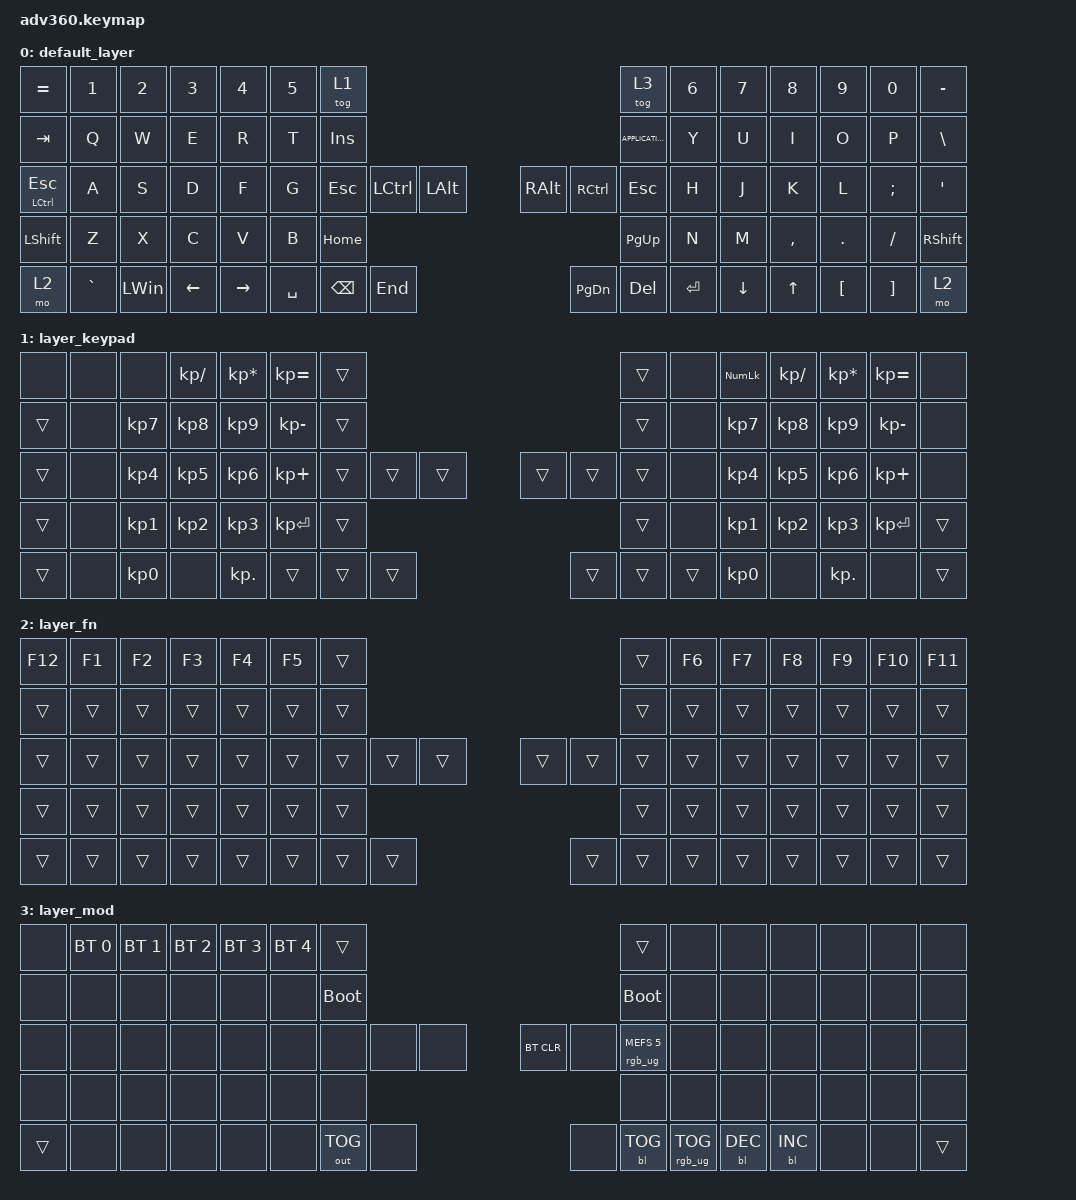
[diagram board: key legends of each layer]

/*
 * Copyright (c) 2020 The ZMK Contributors
 *
 * SPDX-License-Identifier: MIT
 */


/* THIS FILE WAS GENERATED!
 *
 * This file was generated automatically. You may or may not want to
 * edit it directly.
 */

#include <behaviors.dtsi>
#include <dt-bindings/zmk/keys.h>
#include <dt-bindings/zmk/bt.h>
#include <dt-bindings/zmk/rgb.h>
#include <dt-bindings/zmk/outputs.h>
#include <dt-bindings/zmk/backlight.h>

/ {
  behaviors {
    #include "macros.dtsi"

    hm: homerow_mods {
        compatible = "zmk,behavior-hold-tap";
        label = "HOMEROW_MODS";
        #binding-cells = <2>;
        tapping-term-ms = <200>;
        quick_tap_ms = <175>;
        flavor = "tap-preferred";
        bindings = <&kp>, <&kp>;
    };
  };

    keymap {
        compatible = "zmk,keymap";


        default_layer {
            bindings = <
     &kp EQUAL     &kp N1        &kp N2    &kp N3     &kp N4  &kp N5                &tog 1                                                                         &tog 3  &kp N6    &kp N7     &kp N8    &kp N9    &kp N0  &kp MINUS
       &kp TAB      &kp Q         &kp W     &kp E      &kp R   &kp T            &kp INSERT                                                              &kp K_APPLICATION   &kp Y     &kp U      &kp I     &kp O     &kp P   &kp BSLH
 &mt LCTRL ESC      &kp A         &kp S     &kp D      &kp F   &kp G               &kp ESC  &kp LCTRL  &kp LALT                   &kp RALT   &kp RCTRL            &kp ESC   &kp H     &kp J      &kp K     &kp L  &kp SEMI    &kp SQT
     &kp LSHFT      &kp Z         &kp X     &kp C      &kp V   &kp B                                   &kp HOME                  &kp PG_UP                                  &kp N     &kp M  &kp COMMA   &kp DOT  &kp FSLH  &kp RSHFT
         &mo 2  &kp GRAVE  &kp LEFT_WIN  &kp LEFT  &kp RIGHT                     &kp SPACE   &kp BSPC   &kp END                  &kp PG_DN  &kp DELETE          &kp ENTER          &kp DOWN     &kp UP  &kp LBKT  &kp RBKT      &mo 2
            >;
        };

        layer_keypad {
            bindings = <
  &none   &none      &none  &kp KP_SLASH  &kp KP_MULTIPLY  &kp KP_EQUAL            &trans                                                  &trans   &none  &kp KP_NUM  &kp KP_SLASH  &kp KP_MULTIPLY  &kp KP_EQUAL   &none
 &trans   &none  &kp KP_N7     &kp KP_N8        &kp KP_N9  &kp KP_MINUS            &trans                                                  &trans   &none   &kp KP_N7     &kp KP_N8        &kp KP_N9  &kp KP_MINUS   &none
 &trans   &none  &kp KP_N4     &kp KP_N5        &kp KP_N6   &kp KP_PLUS            &trans  &trans  &trans                  &trans  &trans  &trans   &none   &kp KP_N4     &kp KP_N5        &kp KP_N6   &kp KP_PLUS   &none
 &trans   &none  &kp KP_N1     &kp KP_N2        &kp KP_N3  &kp KP_ENTER                            &trans                  &trans                   &none   &kp KP_N1     &kp KP_N2        &kp KP_N3  &kp KP_ENTER  &trans
 &trans   &none  &kp KP_N0         &none       &kp KP_DOT                          &trans  &trans  &trans                  &trans  &trans  &trans           &kp KP_N0         &none       &kp KP_DOT         &none  &trans
            >;
        };

        layer_fn {
            bindings = <
 &kp F12  &kp F1  &kp F2  &kp F3  &kp F4  &kp F5            &trans                                                  &trans  &kp F6  &kp F7  &kp F8  &kp F9  &kp F10  &kp F11
  &trans  &trans  &trans  &trans  &trans  &trans            &trans                                                  &trans  &trans  &trans  &trans  &trans   &trans   &trans
  &trans  &trans  &trans  &trans  &trans  &trans            &trans  &trans  &trans                  &trans  &trans  &trans  &trans  &trans  &trans  &trans   &trans   &trans
  &trans  &trans  &trans  &trans  &trans  &trans                            &trans                  &trans                  &trans  &trans  &trans  &trans   &trans   &trans
  &trans  &trans  &trans  &trans  &trans                    &trans  &trans  &trans                  &trans  &trans  &trans          &trans  &trans  &trans   &trans   &trans
            >;
        };

        layer_mod {
            bindings = <
  &none  &bt BT_SEL 0  &bt BT_SEL 1  &bt BT_SEL 2  &bt BT_SEL 3  &bt BT_SEL 4                 &trans                                                                                &trans   &none       &none       &none   &none   &none   &none
  &none         &none         &none         &none         &none         &none            &bootloader                                                                           &bootloader   &none       &none       &none   &none   &none   &none
  &none         &none         &none         &none         &none         &none                  &none         &none   &none                  &bt BT_CLR       &none  &rgb_ug RGB_MEFS_CMD 5   &none       &none       &none   &none   &none   &none
  &none         &none         &none         &none         &none         &none                                        &none                       &none                                       &none       &none       &none   &none   &none   &none
 &trans         &none         &none         &none         &none                                &none  &out OUT_TOG   &none                       &none  &bl BL_TOG         &rgb_ug RGB_TOG          &bl BL_DEC  &bl BL_INC   &none   &none  &trans
            >;
        };

    };
};
